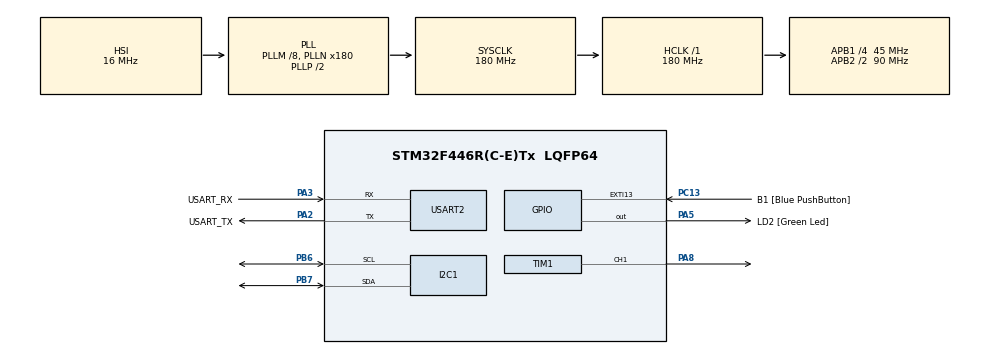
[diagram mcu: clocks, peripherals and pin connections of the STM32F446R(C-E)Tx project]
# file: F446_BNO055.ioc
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I2C1.I2C_Mode=I2C_Fast
Mcu.Family=STM32F4
Mcu.Name=STM32F446R(C-E)Tx
Mcu.Package=LQFP64
NVIC.PriorityGroup=NVIC_PRIORITYGROUP_0
PA13.GPIO_Label=TMS
PA13.Mode=Serial_Wire
PA13.Signal=SYS_JTMS-SWDIO
PA14.GPIO_Label=TCK
PA14.Mode=Serial_Wire
PA14.Signal=SYS_JTCK-SWCLK
PA2.GPIO_Label=USART_TX
PA2.Mode=Asynchronous
PA2.Signal=USART2_TX
PA3.GPIO_Label=USART_RX
PA3.Mode=Asynchronous
PA3.Signal=USART2_RX
PA5.GPIO_Label=LD2 [Green Led]
PA5.Signal=GPIO_Output
PA8.Signal=S_TIM1_CH1
PB3.GPIO_Label=SWO
PB3.Signal=SYS_JTDO-SWO
PB6.Mode=I2C
PB6.Signal=I2C1_SCL
PB7.Mode=I2C
PB7.Signal=I2C1_SDA
PC13.GPIO_Label=B1 [Blue PushButton]
PC13.GPIO_ModeDefaultEXTI=GPIO_MODE_IT_FALLING
PC13.Signal=GPXTI13
PC14-OSC32_IN.Mode=LSE-External-Oscillator
PC14-OSC32_IN.Signal=RCC_OSC32_IN
PC15-OSC32_OUT.Mode=LSE-External-Oscillator
PC15-OSC32_OUT.Signal=RCC_OSC32_OUT
PH0-OSC_IN.Mode=HSE-External-Oscillator
PH0-OSC_IN.Signal=RCC_OSC_IN
PH1-OSC_OUT.Mode=HSE-External-Oscillator
PH1-OSC_OUT.Signal=RCC_OSC_OUT
ProjectManager.HeapSize=0x200
ProjectManager.StackSize=0x400
ProjectManager.TargetToolchain=Makefile
RCC.48MHZClocksFreq_Value=84000000
RCC.AHBFreq_Value=180000000
RCC.APB1CLKDivider=RCC_HCLK_DIV4
RCC.APB1Freq_Value=45000000
RCC.APB1TimFreq_Value=90000000
RCC.APB2CLKDivider=RCC_HCLK_DIV2
RCC.APB2Freq_Value=90000000
RCC.APB2TimFreq_Value=180000000
RCC.CortexFreq_Value=180000000
RCC.FLatency-AdvancedSettings=FLASH_LATENCY_5
RCC.HCLKFreq_Value=180000000
RCC.HSE_VALUE=8000000
RCC.HSI_VALUE=16000000
RCC.PLLM=8
RCC.PLLN=180
RCC.SYSCLKFreq_VALUE=180000000
RCC.SYSCLKSource=RCC_SYSCLKSOURCE_PLLCLK
RCC.USBFreq_Value=180000000
RCC.VCOOutputFreq_Value=360000000
SH.S_TIM1_CH1.0=TIM1_CH1,PWM Generation1 CH1
TIM1.Channel-PWM\ Generation1\ CH1=TIM_CHANNEL_1
TIM1.Period=40000-1
TIM1.Prescaler=90-1
USART2.VirtualMode=VM_ASYNC
VP_TIM1_VS_ClockSourceINT.Mode=Internal
board=NUCLEO-F446RE

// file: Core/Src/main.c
/* USER CODE BEGIN Header */
/**
  ******************************************************************************
  * @file           : main.c
  * @brief          : Main program body
  ******************************************************************************
  * @attention
  *
  * Copyright (c) 2023 STMicroelectronics.
  * All rights reserved.
  *
  * This software is licensed under terms that can be found in the LICENSE file
  * in the root directory of this software component.
  * If no LICENSE file comes with this software, it is provided AS-IS.
  *
  ******************************************************************************
  */
/* USER CODE END Header */
#include "main.h"
#include "i2c.h"
#include "tim.h"
#include "usart.h"
#include "gpio.h"

/* USER CODE BEGIN Includes */
#include "BNO055.h"
#include "servo.h"
/* USER CODE END Includes */

void SystemClock_Config(void);

/* USER CODE BEGIN 0 */
HAL_StatusTypeDef error;
BNO055_Axis_Vec_t Euler_Angle_Struct;

SERVO_ErrorTypeDef servo_error;
SERVO_Instance_t servo;
SERVO_Config_t servo_config;

/* USER CODE END 0 */

int main(void)
{

  /* MCU Configuration--------------------------------------------------------*/

  /* Reset of all peripherals, Initializes the Flash interface and the Systick. */
  HAL_Init();

  /* Configure the system clock */
  SystemClock_Config();

  /* Initialize all configured peripherals */
  MX_GPIO_Init();
  MX_USART2_UART_Init();
  MX_I2C1_Init();
  MX_TIM1_Init();
  /* USER CODE BEGIN 2 */

  /* Servo Motor Struct Instance */
  servo_config.minDuty = 0.025;
  servo_config.maxDuty = 0.125;
  servo_config.minAngle = -90;
  servo_config.maxAngle = 90;

  servo.htim = &htim1;
  servo.channel = TIM_CHANNEL_1;
  servo.config = &servo_config;

  /* Start Servo Motor PWM */
  HAL_TIM_PWM_Start(&htim1, TIM_CHANNEL_1);

  /* Initialize Servo Motor by zeroing */
  if(SERVO_INIT(&servo) != SERVO_OK){
	  HAL_GPIO_WritePin(LD2_GPIO_Port, LD2_Pin, GPIO_PIN_SET);
	  while(1);
  }

  /* BNO055 Start-Up Period */
  HAL_Delay(700);

  /* BNO055 Setup */
  BNO055_I2C_Mount(&hi2c1);			//Mount I2C for BNO055 API to use
  BNO055_Init();					      //Initialize BNO055 by checking connection and reseting module
  BNO055_Set_OP_Mode(NDOF);			//Set operation mode to 9-dof with absolute orientation enabled

  /* USER CODE END 2 */

  /* Infinite loop */
  /* USER CODE BEGIN WHILE */
  while (1)
  {
//	  DRIVE_SERVO(&servo, 0);
//	  HAL_Delay(1000);
//	  DRIVE_SERVO(&servo, -45);
//	  HAL_Delay(1000);
//	  DRIVE_SERVO(&servo, 0);
//	  HAL_Delay(1000);
//	  DRIVE_SERVO(&servo, 45);
//	  HAL_Delay(1000);

	  BNO055_Get_Euler_Vec(&Euler_Angle_Struct);		//Grab Euler Vector from BNO055
	  DRIVE_SERVO(&servo, Euler_Angle_Struct.y);		//Drive Servo Based on Y-Axis angle
	  HAL_Delay(20);									//Smooth out servo rotation stutter

    /* USER CODE END WHILE */

  }
}

void SystemClock_Config(void)
{
  RCC_OscInitTypeDef RCC_OscInitStruct = {0};
  RCC_ClkInitTypeDef RCC_ClkInitStruct = {0};

  /** Configure the main internal regulator output voltage
  */
  __HAL_RCC_PWR_CLK_ENABLE();
  __HAL_PWR_VOLTAGESCALING_CONFIG(PWR_REGULATOR_VOLTAGE_SCALE1);

  /** Initializes the RCC Oscillators according to the specified parameters
  * in the RCC_OscInitTypeDef structure.
  */
  RCC_OscInitStruct.OscillatorType = RCC_OSCILLATORTYPE_HSI;
  RCC_OscInitStruct.HSIState = RCC_HSI_ON;
  RCC_OscInitStruct.HSICalibrationValue = RCC_HSICALIBRATION_DEFAULT;
  RCC_OscInitStruct.PLL.PLLState = RCC_PLL_ON;
  RCC_OscInitStruct.PLL.PLLSource = RCC_PLLSOURCE_HSI;
  RCC_OscInitStruct.PLL.PLLM = 8;
  RCC_OscInitStruct.PLL.PLLN = 180;
  RCC_OscInitStruct.PLL.PLLP = RCC_PLLP_DIV2;
  RCC_OscInitStruct.PLL.PLLQ = 2;
  RCC_OscInitStruct.PLL.PLLR = 2;
  if (HAL_RCC_OscConfig(&RCC_OscInitStruct) != HAL_OK)
  {
    Error_Handler();
  }

  /** Activate the Over-Drive mode
  */
  if (HAL_PWREx_EnableOverDrive() != HAL_OK)
  {
    Error_Handler();
  }

  /** Initializes the CPU, AHB and APB buses clocks
  */
  RCC_ClkInitStruct.ClockType = RCC_CLOCKTYPE_HCLK|RCC_CLOCKTYPE_SYSCLK
                              |RCC_CLOCKTYPE_PCLK1|RCC_CLOCKTYPE_PCLK2;
  RCC_ClkInitStruct.SYSCLKSource = RCC_SYSCLKSOURCE_PLLCLK;
  RCC_ClkInitStruct.AHBCLKDivider = RCC_SYSCLK_DIV1;
  RCC_ClkInitStruct.APB1CLKDivider = RCC_HCLK_DIV4;
  RCC_ClkInitStruct.APB2CLKDivider = RCC_HCLK_DIV2;

  if (HAL_RCC_ClockConfig(&RCC_ClkInitStruct, FLASH_LATENCY_5) != HAL_OK)
  {
    Error_Handler();
  }
}

void Error_Handler(void)
{
  __disable_irq();
  while (1)
  {
  }
}
